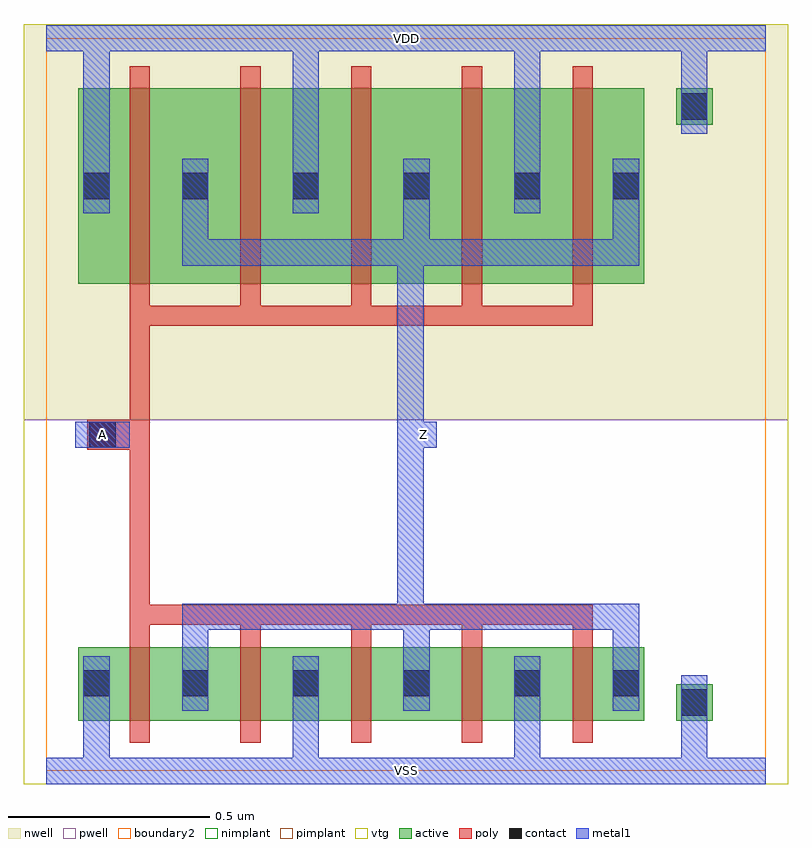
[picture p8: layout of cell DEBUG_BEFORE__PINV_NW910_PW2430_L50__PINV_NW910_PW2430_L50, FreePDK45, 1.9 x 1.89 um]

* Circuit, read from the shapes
.subckt DEBUG_BEFORE__PINV_NW910_PW2430_L50__PINV_NW910_PW2430_L50 A VDD VSS Z
M1 Z A VSS VSS nfet w=0.1825u l=0.05u m=5
M2 Z A VDD VDD pfet w=0.485u l=0.05u m=5
.ends

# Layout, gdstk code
import gdstk
lib = gdstk.Library(unit=1e-6, precision=5e-10)
def R(c, l, rs):  # rectangles x0, y0, x1, y1
    for r in rs: c.add(gdstk.rectangle(r[:2], r[2:], *l))
def A(c, l, x, y, w, h, nx, ny, dx, dy):  # array of equal rectangles
    R(c, l, [(x+i*dx, y+j*dy, x+i*dx+w, y+j*dy+h) for i in range(nx) for j in range(ny)])
active = (1, 0)
pwell = (2, 0)
nwell = (3, 0)
nimplant = (4, 0)
pimplant = (5, 0)
vtg = (6, 0)
poly = (9, 0)
contact = (10, 0)
metal1 = (11, 0)
boundary2 = (239, 0)

debug_before__pinv_nw910 = lib.new_cell('DEBUG_BEFORE__PINV_NW910_PW2430_L50__TRANSMISSION_GATE_NW250_PW500_L50_contact_8')
R(debug_before__pinv_nw910, active, [(0,0.0225,0.09,0.1125)])
R(debug_before__pinv_nw910, nwell, [(-0.055,-0.0325,0.145,0.1675)])
R(debug_before__pinv_nw910, pimplant, [(0,0.0225,0.09,0.1125)])
R(debug_before__pinv_nw910, contact, [(0.0125,0.035,0.0775,0.1)])
R(debug_before__pinv_nw910, metal1, [(0.0125,0,0.0775,0.135)])
R(debug_before__pinv_nw910, boundary2, [(-0.055,-0.0325,0.145,0.1675)])

c_debug_before__pinv_nw910 = lib.new_cell('DEBUG_BEFORE__PINV_NW910_PW2430_L50__PINV_NW910_PW2430_L50_pmos_m5_w0_485_sm1_dm1_da_p')
R(c_debug_before__pinv_nw910, active, [(0,0,1.405,0.485)])
R(c_debug_before__pinv_nw910, nwell, [(-0.08,-0.08,1.485,0.565)])
R(c_debug_before__pinv_nw910, pimplant, [(0,0,1.405,0.485)])
R(c_debug_before__pinv_nw910, vtg, [(-0.08,-0.08,1.485,0.565)])
A(c_debug_before__pinv_nw910, poly, 0.1275, -0.055, 0.05, 0.595, 5, 1, 0.275, 0)
R(c_debug_before__pinv_nw910, poly, [(0.1275,-0.105,1.2775,-0.055)])
R(c_debug_before__pinv_nw910, metal1, [(0.2575,0.045,1.3925,0.11), (0.2575,0.0775,0.3225,0.2425), (0.8075,0.0775,0.8725,0.2425), (1.3275,0.0775,1.3925,0.2425), (0.0125,0.175,0.0775,0.31), (0.5325,0.175,0.5975,0.31), (1.0825,0.175,1.1475,0.31)])
R(c_debug_before__pinv_nw910, boundary2, [(-0.08,-0.105,1.485,0.565)])
c_debug_before__pinv_nw910.add(gdstk.Reference(debug_before__pinv_nw910, (0,0.175)))
c_debug_before__pinv_nw910.add(gdstk.Reference(debug_before__pinv_nw910, (0.245,0.175)))
c_debug_before__pinv_nw910.add(gdstk.Reference(debug_before__pinv_nw910, (0.52,0.175)))
c_debug_before__pinv_nw910.add(gdstk.Reference(debug_before__pinv_nw910, (0.795,0.175)))
c_debug_before__pinv_nw910.add(gdstk.Reference(debug_before__pinv_nw910, (1.07,0.175)))
c_debug_before__pinv_nw910.add(gdstk.Reference(debug_before__pinv_nw910, (1.315,0.175)))
c_debug_before__pinv_nw910.add(gdstk.Label('G', (0.7025,-0.08), layer=9, texttype=0))
c_debug_before__pinv_nw910.add(gdstk.Label('S', (1.115,0.2425), layer=11, texttype=0))
c_debug_before__pinv_nw910.add(gdstk.Label('S', (0.565,0.2425), layer=11, texttype=0))
c_debug_before__pinv_nw910.add(gdstk.Label('S', (0.045,0.2425), layer=11, texttype=0))
c_debug_before__pinv_nw910.add(gdstk.Label('D', (0.825,0.0775), layer=11, texttype=0))

c_debug_before__pinv_nw910_ = lib.new_cell('DEBUG_BEFORE__PINV_NW910_PW2430_L50__TRANSMISSION_GATE_NW250_PW500_L50_contact_7')
R(c_debug_before__pinv_nw910_, active, [(0,0.0225,0.09,0.1125)])
R(c_debug_before__pinv_nw910_, pwell, [(-0.055,-0.0325,0.145,0.1675)])
R(c_debug_before__pinv_nw910_, nimplant, [(0,0.0225,0.09,0.1125)])
R(c_debug_before__pinv_nw910_, contact, [(0.0125,0.035,0.0775,0.1)])
R(c_debug_before__pinv_nw910_, metal1, [(0.0125,0,0.0775,0.135)])
R(c_debug_before__pinv_nw910_, boundary2, [(-0.055,-0.0325,0.145,0.1675)])

c_debug_before__pinv_nw910__ = lib.new_cell('DEBUG_BEFORE__PINV_NW910_PW2430_L50__PINV_NW910_PW2430_L50_nmos_m5_w0_182_sm1_dm1_da_p')
R(c_debug_before__pinv_nw910__, active, [(0,0,1.405,0.1825)])
R(c_debug_before__pinv_nw910__, pwell, [(-0.08,-0.08,1.485,0.2625)])
R(c_debug_before__pinv_nw910__, nimplant, [(0,0,1.405,0.1825)])
R(c_debug_before__pinv_nw910__, vtg, [(-0.08,-0.08,1.485,0.2625)])
A(c_debug_before__pinv_nw910__, poly, 0.1275, -0.055, 0.05, 0.2925, 5, 1, 0.275, 0)
R(c_debug_before__pinv_nw910__, poly, [(0.1275,0.2375,1.2775,0.2875)])
R(c_debug_before__pinv_nw910__, metal1, [(0.0125,0.025,0.0775,0.16), (0.5325,0.025,0.5975,0.16), (1.0825,0.025,1.1475,0.16), (0.2575,0.09,0.3225,0.255), (0.8075,0.09,0.8725,0.255), (1.3275,0.09,1.3925,0.255), (0.2575,0.225,1.3925,0.29)])
R(c_debug_before__pinv_nw910__, boundary2, [(-0.08,-0.08,1.485,0.29)])
c_debug_before__pinv_nw910__.add(gdstk.Reference(c_debug_before__pinv_nw910_, (0,0.025)))
c_debug_before__pinv_nw910__.add(gdstk.Reference(c_debug_before__pinv_nw910_, (0.245,0.025)))
c_debug_before__pinv_nw910__.add(gdstk.Reference(c_debug_before__pinv_nw910_, (0.52,0.025)))
c_debug_before__pinv_nw910__.add(gdstk.Reference(c_debug_before__pinv_nw910_, (0.795,0.025)))
c_debug_before__pinv_nw910__.add(gdstk.Reference(c_debug_before__pinv_nw910_, (1.07,0.025)))
c_debug_before__pinv_nw910__.add(gdstk.Reference(c_debug_before__pinv_nw910_, (1.315,0.025)))
c_debug_before__pinv_nw910__.add(gdstk.Label('G', (0.7025,0.2625), layer=9, texttype=0))
c_debug_before__pinv_nw910__.add(gdstk.Label('S', (1.115,0.0925), layer=11, texttype=0))
c_debug_before__pinv_nw910__.add(gdstk.Label('S', (0.045,0.0925), layer=11, texttype=0))
c_debug_before__pinv_nw910__.add(gdstk.Label('S', (0.565,0.0925), layer=11, texttype=0))
c_debug_before__pinv_nw910__.add(gdstk.Label('D', (0.825,0.2575), layer=11, texttype=0))

c_debug_before__pinv_nw910___ = lib.new_cell('DEBUG_BEFORE__PINV_NW910_PW2430_L50__TRANSMISSION_GATE_NW250_PW500_L50_contact_9')
R(c_debug_before__pinv_nw910___, active, [(0,0.0225,0.09,0.1125)])
R(c_debug_before__pinv_nw910___, nwell, [(-0.055,-0.0325,0.145,0.1675)])
R(c_debug_before__pinv_nw910___, nimplant, [(0,0.0225,0.09,0.1125)])
R(c_debug_before__pinv_nw910___, contact, [(0.0125,0.035,0.0775,0.1)])
R(c_debug_before__pinv_nw910___, metal1, [(0.0125,0,0.0775,0.135)])
R(c_debug_before__pinv_nw910___, boundary2, [(-0.055,-0.0325,0.145,0.1675)])

c_debug_before__pinv_nw910____ = lib.new_cell('DEBUG_BEFORE__PINV_NW910_PW2430_L50__TRANSMISSION_GATE_NW250_PW500_L50_contact_10')
R(c_debug_before__pinv_nw910____, active, [(0,0.0225,0.09,0.1125)])
R(c_debug_before__pinv_nw910____, pwell, [(-0.055,-0.0325,0.145,0.1675)])
R(c_debug_before__pinv_nw910____, pimplant, [(0,0.0225,0.09,0.1125)])
R(c_debug_before__pinv_nw910____, contact, [(0.0125,0.035,0.0775,0.1)])
R(c_debug_before__pinv_nw910____, metal1, [(0.0125,0,0.0775,0.135)])
R(c_debug_before__pinv_nw910____, boundary2, [(-0.055,-0.0325,0.145,0.1675)])

c_debug_before__pinv_nw910_____ = lib.new_cell('DEBUG_BEFORE__PINV_NW910_PW2430_L50__PINV_NW180_PW270_L50_contact_11')
R(c_debug_before__pinv_nw910_____, poly, [(0.03,0,0.105,0.075)])
R(c_debug_before__pinv_nw910_____, contact, [(0.035,0.005,0.1,0.07)])
R(c_debug_before__pinv_nw910_____, metal1, [(0,0.005,0.135,0.07)])
R(c_debug_before__pinv_nw910_____, boundary2, [(0,0,0.135,0.075)])

c_debug_before__pinv_nw910______ = lib.new_cell('DEBUG_BEFORE__PINV_NW910_PW2430_L50__PINV_NW910_PW2430_L50_core')
R(c_debug_before__pinv_nw910______, pwell, [(-0.055,-0.0325,1.8425,0.8725)])
R(c_debug_before__pinv_nw910______, nwell, [(-0.055,0.8725,1.8425,1.855)])
R(c_debug_before__pinv_nw910______, vtg, [(-0.055,-0.0325,1.8425,0.8725), (-0.055,0.8725,1.8425,1.855)])
R(c_debug_before__pinv_nw910______, poly, [(0.2075,0.4125,0.2575,1.105), (0.14,0.7975,0.2075,0.8725)])
R(c_debug_before__pinv_nw910______, metal1, [(0,-0.0325,1.7875,0.0325), (0.0925,-0.0325,0.1575,0.15), (0.6125,-0.0325,0.6775,0.15), (1.1625,-0.0325,1.2275,0.15), (1.5775,0,1.6425,0.17), (0.8725,0.35,0.9375,1.32), (0.0725,0.8025,0.2075,0.8675), (0.905,0.8025,0.97,0.8675), (0.0925,1.385,0.1575,1.8525), (0.6125,1.385,0.6775,1.8525), (1.1625,1.385,1.2275,1.8525), (1.5775,1.65,1.6425,1.82), (0,1.7875,1.7875,1.8525)])
R(c_debug_before__pinv_nw910______, boundary2, [(0,0,1.7875,1.82), (0,0,1.7875,1.82)])
c_debug_before__pinv_nw910______.add(gdstk.Reference(c_debug_before__pinv_nw910, (0.08,1.21)))
c_debug_before__pinv_nw910______.add(gdstk.Reference(c_debug_before__pinv_nw910__, (0.08,0.125)))
c_debug_before__pinv_nw910______.add(gdstk.Reference(c_debug_before__pinv_nw910___, (1.565,1.5825)))
c_debug_before__pinv_nw910______.add(gdstk.Reference(c_debug_before__pinv_nw910____, (1.565,0.1025)))
c_debug_before__pinv_nw910______.add(gdstk.Reference(c_debug_before__pinv_nw910_____, (0.0725,0.7975)))
c_debug_before__pinv_nw910______.add(gdstk.Label('A', (0.14,0.835), layer=11, texttype=0))
c_debug_before__pinv_nw910______.add(gdstk.Label('Z', (0.9375,0.835), layer=11, texttype=0))
c_debug_before__pinv_nw910______.add(gdstk.Label('gnd', (0.894,0), layer=11, texttype=0))
c_debug_before__pinv_nw910______.add(gdstk.Label('vdd', (0.894,1.82), layer=11, texttype=0))

c_debug_before__pinv_nw910_______ = lib.new_cell('DEBUG_BEFORE__PINV_NW910_PW2430_L50__PINV_NW910_PW2430_L50')
R(c_debug_before__pinv_nw910_______, metal1, [(0,-0.0325,1.7875,0.0325), (0.0725,0.8025,0.2075,0.8675), (0.905,0.8025,0.97,0.8675), (0,1.7875,1.7875,1.8525)])
R(c_debug_before__pinv_nw910_______, boundary2, [(0,0,1.7875,1.82)])
c_debug_before__pinv_nw910_______.add(gdstk.Reference(c_debug_before__pinv_nw910______, (0,0)))
c_debug_before__pinv_nw910_______.add(gdstk.Label('A', (0.14,0.835), layer=11, texttype=0))
c_debug_before__pinv_nw910_______.add(gdstk.Label('Z', (0.9375,0.835), layer=11, texttype=0))
c_debug_before__pinv_nw910_______.add(gdstk.Label('VDD', (0.894,1.82), layer=11, texttype=0))
c_debug_before__pinv_nw910_______.add(gdstk.Label('VSS', (0.894,0), layer=11, texttype=0))

lib.write_gds('DEBUG_BEFORE__PINV_NW910_PW2430_L50__PINV_NW910_PW2430_L50.gds')
